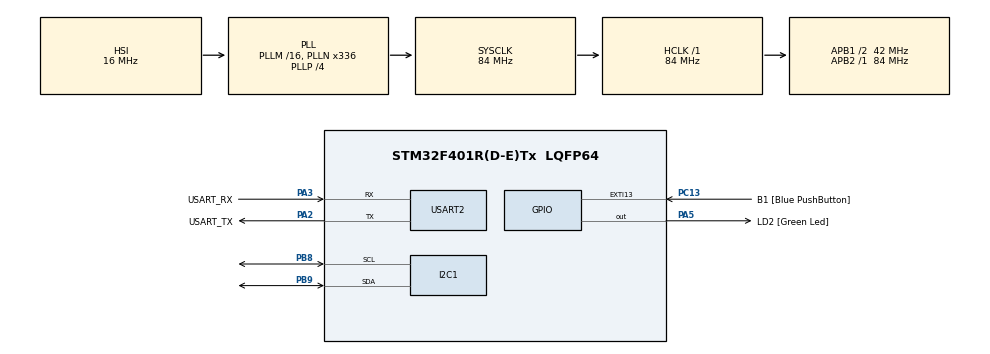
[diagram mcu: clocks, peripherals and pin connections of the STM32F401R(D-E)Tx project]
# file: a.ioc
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Mcu.Family=STM32F4
Mcu.Name=STM32F401R(D-E)Tx
Mcu.Package=LQFP64
NVIC.PriorityGroup=NVIC_PRIORITYGROUP_0
NVIC.TIM2_IRQn=true\:0\:0\:false\:false\:true\:true\:true\:true
PA13.GPIO_Label=TMS
PA13.Mode=Serial_Wire
PA13.Signal=SYS_JTMS-SWDIO
PA14.GPIO_Label=TCK
PA14.Mode=Serial_Wire
PA14.Signal=SYS_JTCK-SWCLK
PA2.GPIO_Label=USART_TX
PA2.GPIO_Mode=GPIO_MODE_AF_PP
PA2.GPIO_PuPd=GPIO_NOPULL
PA2.GPIO_Speed=GPIO_SPEED_FREQ_LOW
PA2.Mode=Asynchronous
PA2.Signal=USART2_TX
PA3.GPIO_Label=USART_RX
PA3.GPIO_Mode=GPIO_MODE_AF_PP
PA3.GPIO_PuPd=GPIO_NOPULL
PA3.GPIO_Speed=GPIO_SPEED_FREQ_LOW
PA3.Mode=Asynchronous
PA3.Signal=USART2_RX
PA5.GPIO_Label=LD2 [Green Led]
PA5.GPIO_Mode=GPIO_MODE_OUTPUT_PP
PA5.GPIO_PuPd=GPIO_NOPULL
PA5.GPIO_Speed=GPIO_SPEED_FREQ_LOW
PA5.Signal=GPIO_Output
PB3.GPIO_Label=SWO
PB3.Signal=SYS_JTDO-SWO
PB8.Mode=I2C
PB8.Signal=I2C1_SCL
PB9.Mode=I2C
PB9.Signal=I2C1_SDA
PC13-ANTI_TAMP.GPIO_Label=B1 [Blue PushButton]
PC13-ANTI_TAMP.GPIO_ModeDefaultEXTI=GPIO_MODE_IT_FALLING
PC13-ANTI_TAMP.GPIO_PuPd=GPIO_NOPULL
PC13-ANTI_TAMP.Signal=GPXTI13
PC14-OSC32_IN.Mode=LSE-External-Oscillator
PC14-OSC32_IN.Signal=RCC_OSC32_IN
PC15-OSC32_OUT.Mode=LSE-External-Oscillator
PC15-OSC32_OUT.Signal=RCC_OSC32_OUT
PH0\ -\ OSC_IN.Mode=HSE-External-Clock-Source
PH0\ -\ OSC_IN.Signal=RCC_OSC_IN
PH1\ -\ OSC_OUT.Mode=HSE-External-Clock-Source
PH1\ -\ OSC_OUT.Signal=RCC_OSC_OUT
ProjectManager.HeapSize=0x200
ProjectManager.StackSize=0x400
ProjectManager.TargetToolchain=STM32CubeIDE
RCC.48MHZClocksFreq_Value=48000000
RCC.AHBFreq_Value=84000000
RCC.APB1CLKDivider=RCC_HCLK_DIV2
RCC.APB1Freq_Value=42000000
RCC.APB1TimFreq_Value=84000000
RCC.APB2Freq_Value=84000000
RCC.APB2TimFreq_Value=84000000
RCC.CortexFreq_Value=84000000
RCC.HCLKFreq_Value=84000000
RCC.HSE_VALUE=8000000
RCC.HSI_VALUE=16000000
RCC.PLLN=336
RCC.PLLP=RCC_PLLP_DIV4
RCC.PLLQ=7
RCC.SYSCLKFreq_VALUE=84000000
RCC.SYSCLKSource=RCC_SYSCLKSOURCE_PLLCLK
RCC.VCOOutputFreq_Value=336000000
TIM2.Channel-Output\ Compare1\ No\ Output=TIM_CHANNEL_1
TIM2.Period=60000 - 1
TIM2.Prescaler=1400 - 1
TIM2.TIM_MasterOutputTrigger=TIM_TRGO_RESET
USART2.VirtualMode=VM_ASYNC
VP_TIM2_VS_no_output1.Mode=Output Compare1 No Output
board=NUCLEO-F401RE

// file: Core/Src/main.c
/* USER CODE BEGIN Header */
/**
  ******************************************************************************
  * @file           : main.c
  * @brief          : Main program body
  ******************************************************************************
  * @attention
  *
  * Copyright (c) 2023 STMicroelectronics.
  * All rights reserved.
  *
  * This software is licensed under terms that can be found in the LICENSE file
  * in the root directory of this software component.
  * If no LICENSE file comes with this software, it is provided AS-IS.
  *
  ******************************************************************************
  */
/* USER CODE END Header */
#include "main.h"

/* USER CODE BEGIN Includes */

#include <string.h>
#include <stdio.h>

/* USER CODE END Includes */

I2C_HandleTypeDef hi2c1;

TIM_HandleTypeDef htim2;

UART_HandleTypeDef huart2;

/* USER CODE BEGIN PV */

uint16_t deviceAddress = 0x48 << 1; // Use 8-bit addressing
uint8_t temperatureRegister = 0x00;
volatile uint8_t dataSent = 0;
volatile float temp;
const float sensitivity = 0.125f;

/* USER CODE END PV */

void SystemClock_Config(void);
static void MX_GPIO_Init(void);
static void MX_USART2_UART_Init(void);
static void MX_I2C1_Init(void);
static void MX_TIM2_Init(void);

int main(void)
{

  /* MCU Configuration--------------------------------------------------------*/

  /* Reset of all peripherals, Initializes the Flash interface and the Systick. */
  HAL_Init();

  /* Configure the system clock */
  SystemClock_Config();

  /* Initialize all configured peripherals */
  MX_GPIO_Init();
  MX_USART2_UART_Init();
  MX_I2C1_Init();
  MX_TIM2_Init();
  /* USER CODE BEGIN 2 */

  HAL_TIM_Base_Start_IT(&htim2);

  /* USER CODE END 2 */

  /* Infinite loop */
  /* USER CODE BEGIN WHILE */
  while (1)
  {
	uint8_t data[2];
	uint16_t rawData;

	// Set the data sent flag to 0 to avoid repetitions
	dataSent = 0;

	// Read the temperature register
	HAL_I2C_Master_Transmit(&hi2c1, deviceAddress, &temperatureRegister, 1, HAL_MAX_DELAY);
	HAL_I2C_Master_Receive(&hi2c1, deviceAddress, data, 2, HAL_MAX_DELAY);

	// Fit the data in correct order inside a uint16_t
	rawData = 0x0;
	rawData |= ((uint16_t)data[0]) << 8;
	rawData |= data[1];

	// Shift the useless 0s while extending the sign
	int16_t sample = rawData;
	sample = sample >> 5;

	// Convert the sample using the sensitivity to the correct float one
	temp = sample * sensitivity;

	// Delay until next cycle
	while(!dataSent){}

    /* USER CODE END WHILE */

  }
}

void SystemClock_Config(void)
{
  RCC_OscInitTypeDef RCC_OscInitStruct = {0};
  RCC_ClkInitTypeDef RCC_ClkInitStruct = {0};

  /** Configure the main internal regulator output voltage
  */
  __HAL_RCC_PWR_CLK_ENABLE();
  __HAL_PWR_VOLTAGESCALING_CONFIG(PWR_REGULATOR_VOLTAGE_SCALE2);

  /** Initializes the RCC Oscillators according to the specified parameters
  * in the RCC_OscInitTypeDef structure.
  */
  RCC_OscInitStruct.OscillatorType = RCC_OSCILLATORTYPE_HSI;
  RCC_OscInitStruct.HSIState = RCC_HSI_ON;
  RCC_OscInitStruct.HSICalibrationValue = RCC_HSICALIBRATION_DEFAULT;
  RCC_OscInitStruct.PLL.PLLState = RCC_PLL_ON;
  RCC_OscInitStruct.PLL.PLLSource = RCC_PLLSOURCE_HSI;
  RCC_OscInitStruct.PLL.PLLM = 16;
  RCC_OscInitStruct.PLL.PLLN = 336;
  RCC_OscInitStruct.PLL.PLLP = RCC_PLLP_DIV4;
  RCC_OscInitStruct.PLL.PLLQ = 7;
  if (HAL_RCC_OscConfig(&RCC_OscInitStruct) != HAL_OK)
  {
    Error_Handler();
  }

  /** Initializes the CPU, AHB and APB buses clocks
  */
  RCC_ClkInitStruct.ClockType = RCC_CLOCKTYPE_HCLK|RCC_CLOCKTYPE_SYSCLK
                              |RCC_CLOCKTYPE_PCLK1|RCC_CLOCKTYPE_PCLK2;
  RCC_ClkInitStruct.SYSCLKSource = RCC_SYSCLKSOURCE_PLLCLK;
  RCC_ClkInitStruct.AHBCLKDivider = RCC_SYSCLK_DIV1;
  RCC_ClkInitStruct.APB1CLKDivider = RCC_HCLK_DIV2;
  RCC_ClkInitStruct.APB2CLKDivider = RCC_HCLK_DIV1;

  if (HAL_RCC_ClockConfig(&RCC_ClkInitStruct, FLASH_LATENCY_2) != HAL_OK)
  {
    Error_Handler();
  }
}

static void MX_I2C1_Init(void)
{

  hi2c1.Instance = I2C1;
  hi2c1.Init.ClockSpeed = 100000;
  hi2c1.Init.DutyCycle = I2C_DUTYCYCLE_2;
  hi2c1.Init.OwnAddress1 = 0;
  hi2c1.Init.AddressingMode = I2C_ADDRESSINGMODE_7BIT;
  hi2c1.Init.DualAddressMode = I2C_DUALADDRESS_DISABLE;
  hi2c1.Init.OwnAddress2 = 0;
  hi2c1.Init.GeneralCallMode = I2C_GENERALCALL_DISABLE;
  hi2c1.Init.NoStretchMode = I2C_NOSTRETCH_DISABLE;
  if (HAL_I2C_Init(&hi2c1) != HAL_OK)
  {
    Error_Handler();
  }

}

static void MX_TIM2_Init(void)
{

  TIM_MasterConfigTypeDef sMasterConfig = {0};
  TIM_OC_InitTypeDef sConfigOC = {0};

  htim2.Instance = TIM2;
  htim2.Init.Prescaler = 1400 - 1;
  htim2.Init.CounterMode = TIM_COUNTERMODE_UP;
  htim2.Init.Period = 60000 - 1;
  htim2.Init.ClockDivision = TIM_CLOCKDIVISION_DIV1;
  htim2.Init.AutoReloadPreload = TIM_AUTORELOAD_PRELOAD_DISABLE;
  if (HAL_TIM_OC_Init(&htim2) != HAL_OK)
  {
    Error_Handler();
  }
  sMasterConfig.MasterOutputTrigger = TIM_TRGO_RESET;
  sMasterConfig.MasterSlaveMode = TIM_MASTERSLAVEMODE_DISABLE;
  if (HAL_TIMEx_MasterConfigSynchronization(&htim2, &sMasterConfig) != HAL_OK)
  {
    Error_Handler();
  }
  sConfigOC.OCMode = TIM_OCMODE_TIMING;
  sConfigOC.Pulse = 0;
  sConfigOC.OCPolarity = TIM_OCPOLARITY_HIGH;
  sConfigOC.OCFastMode = TIM_OCFAST_DISABLE;
  if (HAL_TIM_OC_ConfigChannel(&htim2, &sConfigOC, TIM_CHANNEL_1) != HAL_OK)
  {
    Error_Handler();
  }

}

static void MX_USART2_UART_Init(void)
{

  huart2.Instance = USART2;
  huart2.Init.BaudRate = 115200;
  huart2.Init.WordLength = UART_WORDLENGTH_8B;
  huart2.Init.StopBits = UART_STOPBITS_1;
  huart2.Init.Parity = UART_PARITY_NONE;
  huart2.Init.Mode = UART_MODE_TX_RX;
  huart2.Init.HwFlowCtl = UART_HWCONTROL_NONE;
  huart2.Init.OverSampling = UART_OVERSAMPLING_16;
  if (HAL_UART_Init(&huart2) != HAL_OK)
  {
    Error_Handler();
  }

}

static void MX_GPIO_Init(void)
{
  GPIO_InitTypeDef GPIO_InitStruct = {0};

  /* GPIO Ports Clock Enable */
  __HAL_RCC_GPIOC_CLK_ENABLE();
  __HAL_RCC_GPIOH_CLK_ENABLE();
  __HAL_RCC_GPIOA_CLK_ENABLE();
  __HAL_RCC_GPIOB_CLK_ENABLE();

  /*Configure GPIO pin Output Level */
  HAL_GPIO_WritePin(LD2_GPIO_Port, LD2_Pin, GPIO_PIN_RESET);

  /*Configure GPIO pin : B1_Pin */
  GPIO_InitStruct.Pin = B1_Pin;
  GPIO_InitStruct.Mode = GPIO_MODE_IT_FALLING;
  GPIO_InitStruct.Pull = GPIO_NOPULL;
  HAL_GPIO_Init(B1_GPIO_Port, &GPIO_InitStruct);

  /*Configure GPIO pin : LD2_Pin */
  GPIO_InitStruct.Pin = LD2_Pin;
  GPIO_InitStruct.Mode = GPIO_MODE_OUTPUT_PP;
  GPIO_InitStruct.Pull = GPIO_NOPULL;
  GPIO_InitStruct.Speed = GPIO_SPEED_FREQ_LOW;
  HAL_GPIO_Init(LD2_GPIO_Port, &GPIO_InitStruct);

}

/* USER CODE BEGIN 4 */

void HAL_TIM_PeriodElapsedCallback(TIM_HandleTypeDef *htim)
{
	char printBuffer[100];

	// Send the data over uart
	sprintf(printBuffer, "Data: %f\r\n", temp);
	HAL_UART_Transmit(&huart2, (uint8_t*) printBuffer, strlen(printBuffer), HAL_MAX_DELAY);

	// Set the data sent flag to 1
	dataSent = 1;
}

/* USER CODE END 4 */

void Error_Handler(void)
{
  __disable_irq();
  while (1)
  {
  }
}
